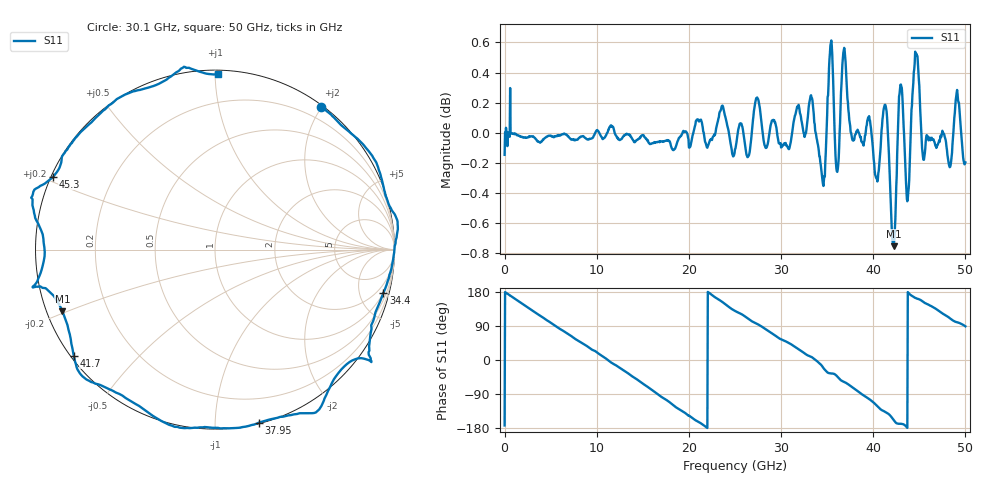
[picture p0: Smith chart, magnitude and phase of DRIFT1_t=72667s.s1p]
!Created with skrf (http://scikit-rf.org).
# Hz S RI R 50.0
!freq ReS11 ImS11
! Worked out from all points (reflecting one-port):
!   1001 points, 300 kHz to 50 GHz, reference 50 ohm
!   lowest |S11| = -0.8 dB at 42.2 GHz (marker M1), VSWR 22.96, Z = 2.26 - j9.69 ohm
!   phase of S11 starts at -173 deg and turns -818 deg over the sweep
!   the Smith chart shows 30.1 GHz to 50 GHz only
!   S11 on the Smith chart (normalised r, x): 30.1 GHz: 0.03, +1.99; 34.4 GHz: 0.99, -7.81; 37.95 GHz: 0.01, -1.28; 41.7 GHz: 0.01, -0.33; 45.3 GHz: 0.01, +0.22; 50 GHz: 0.02, +1.02
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300000  -0.9753 -0.123
1.450291e9  -0.9125 0.404
3.25028e9  -0.593 0.8003
6.250262e9  0.1989 0.9786
9.450243e9  0.8814 0.4627
1.250022e10  0.93 -0.3516
1.580021e10  0.2418 -0.9613
1.74002e10  -0.2231 -0.9681
1.875019e10  -0.5987 -0.7923
2.160017e10  -0.9909 -0.1359
2.345016e10  -0.9301 0.4121
2.500015e10  -0.628 0.7618
2.745014e10  -0.0831 1.023
3.010012e10  0.5908 0.7938
3.125011e10  0.7821 0.6271
3.32001e10  1.015 0.1643
3.440009e10  0.9387 -0.2405
3.520009e10  0.8636 -0.5984
3.750008e10  0.3785 -0.9311
3.795007e10  0.2437 -0.9646
3.960006e10  -0.2395 -0.9811
4.170005e10  -0.7873 -0.5902
4.220005e10  -0.8499 -0.3431
4.290004e10  -1.012 -0.2099
4.375004e10  -0.9507 0.0122
4.530003e10  -0.9008 0.4063
4.765001e10  -0.5132 0.8572
5e10  0.0194 0.9772
